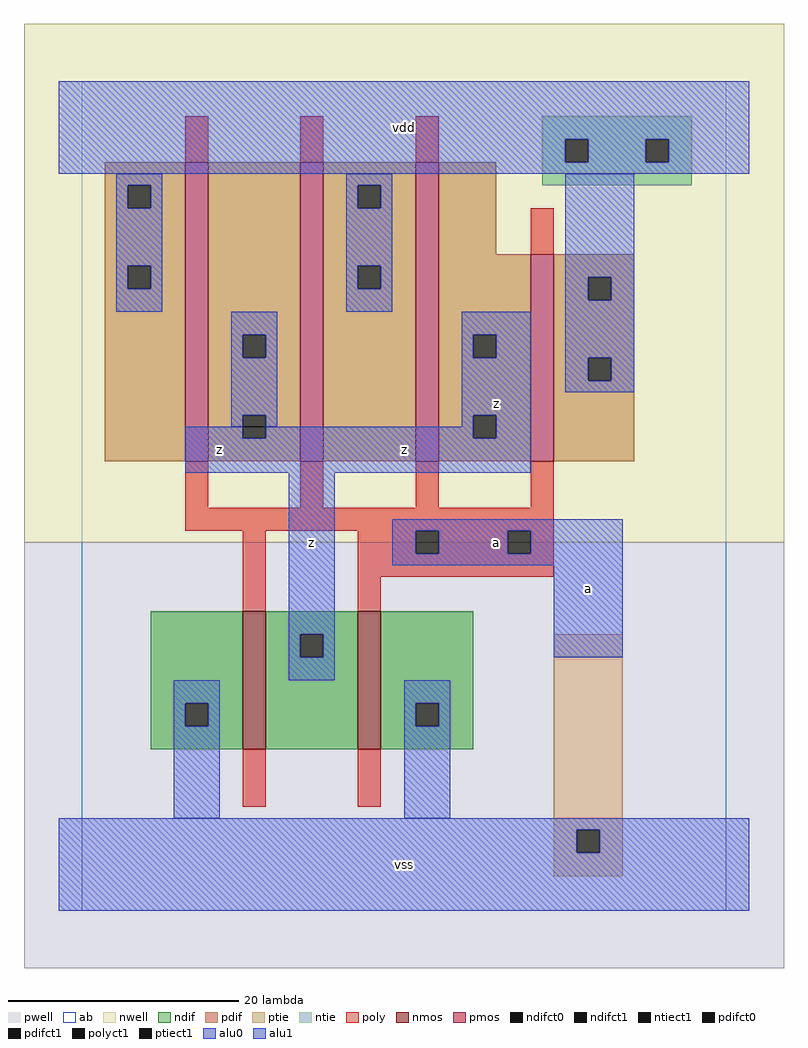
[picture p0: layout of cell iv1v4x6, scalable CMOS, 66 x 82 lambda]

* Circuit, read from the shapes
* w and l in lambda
.subckt iv1v4x6 a vdd vss z
M1 z a vss vss nfet w=12 l=2 m=2
M2 z a vdd vdd pfet w=26 l=2 m=3
M3 vdd a z vdd pfet w=18 l=2
.ends

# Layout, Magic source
magic
tech scmos
<< ab >>
rect 0 0 56 72
<< nwell >>
rect -5 32 61 77
<< pwell >>
rect -5 -5 61 32
<< poly >>
rect 9 65 11 69
rect 19 65 21 69
rect 29 65 31 69
rect 39 57 41 61
rect 9 35 11 39
rect 19 35 21 39
rect 29 35 31 39
rect 39 35 41 39
rect 9 33 41 35
rect 14 26 16 33
rect 24 31 29 33
rect 31 31 37 33
rect 39 31 41 33
rect 24 29 41 31
rect 24 26 26 29
rect 14 9 16 14
rect 24 9 26 14
<< ndif >>
rect 6 18 14 26
rect 6 16 9 18
rect 11 16 14 18
rect 6 14 14 16
rect 16 24 24 26
rect 16 22 19 24
rect 21 22 24 24
rect 16 14 24 22
rect 26 18 34 26
rect 26 16 29 18
rect 31 16 34 18
rect 26 14 34 16
<< pdif >>
rect 2 63 9 65
rect 2 61 4 63
rect 6 61 9 63
rect 2 56 9 61
rect 2 54 4 56
rect 6 54 9 56
rect 2 39 9 54
rect 11 50 19 65
rect 11 48 14 50
rect 16 48 19 50
rect 11 43 19 48
rect 11 41 14 43
rect 16 41 19 43
rect 11 39 19 41
rect 21 63 29 65
rect 21 61 24 63
rect 26 61 29 63
rect 21 56 29 61
rect 21 54 24 56
rect 26 54 29 56
rect 21 39 29 54
rect 31 57 36 65
rect 31 50 39 57
rect 31 48 34 50
rect 36 48 39 50
rect 31 43 39 48
rect 31 41 34 43
rect 36 41 39 43
rect 31 39 39 41
rect 41 55 48 57
rect 41 53 44 55
rect 46 53 48 55
rect 41 48 48 53
rect 41 46 44 48
rect 46 46 48 48
rect 41 39 48 46
<< alu1 >>
rect -2 67 58 72
rect -2 65 42 67
rect 44 65 49 67
rect 51 65 58 67
rect -2 64 58 65
rect 33 50 39 52
rect 33 48 34 50
rect 36 48 39 50
rect 33 43 39 48
rect 33 42 34 43
rect 9 41 14 42
rect 16 41 34 42
rect 36 41 39 43
rect 9 38 39 41
rect 18 24 22 38
rect 27 33 47 34
rect 27 31 29 33
rect 31 31 37 33
rect 39 31 47 33
rect 27 30 47 31
rect 18 22 19 24
rect 21 22 22 24
rect 41 22 47 30
rect 18 20 22 22
rect -2 7 58 8
rect -2 5 43 7
rect 45 5 58 7
rect -2 0 58 5
<< ptie >>
rect 41 7 47 24
rect 41 5 43 7
rect 45 5 47 7
rect 41 3 47 5
<< ntie >>
rect 40 67 53 69
rect 40 65 42 67
rect 44 65 49 67
rect 51 65 53 67
rect 40 63 53 65
<< nmos >>
rect 14 14 16 26
rect 24 14 26 26
<< pmos >>
rect 9 39 11 65
rect 19 39 21 65
rect 29 39 31 65
rect 39 39 41 57
<< polyct1 >>
rect 29 31 31 33
rect 37 31 39 33
<< ndifct0 >>
rect 9 16 11 18
rect 29 16 31 18
<< ndifct1 >>
rect 19 22 21 24
<< ntiect1 >>
rect 42 65 44 67
rect 49 65 51 67
<< ptiect1 >>
rect 43 5 45 7
<< pdifct0 >>
rect 4 61 6 63
rect 4 54 6 56
rect 14 48 16 50
rect 14 42 16 43
rect 24 61 26 63
rect 24 54 26 56
rect 44 53 46 55
rect 44 46 46 48
<< pdifct1 >>
rect 14 41 16 42
rect 34 48 36 50
rect 34 41 36 43
<< alu0 >>
rect 3 63 7 64
rect 3 61 4 63
rect 6 61 7 63
rect 3 56 7 61
rect 3 54 4 56
rect 6 54 7 56
rect 3 52 7 54
rect 23 63 27 64
rect 23 61 24 63
rect 26 61 27 63
rect 23 56 27 61
rect 23 54 24 56
rect 26 54 27 56
rect 23 52 27 54
rect 42 55 48 64
rect 42 53 44 55
rect 46 53 48 55
rect 13 50 17 52
rect 13 48 14 50
rect 16 48 17 50
rect 13 43 17 48
rect 13 42 14 43
rect 16 42 17 43
rect 42 48 48 53
rect 42 46 44 48
rect 46 46 48 48
rect 42 45 48 46
rect 8 18 12 20
rect 8 16 9 18
rect 11 16 12 18
rect 8 8 12 16
rect 28 18 32 20
rect 28 16 29 18
rect 31 16 32 18
rect 28 8 32 16
<< labels >>
rlabel alu1 20 32 20 32 6 z
rlabel alu1 12 40 12 40 6 z
rlabel alu1 28 4 28 4 6 vss
rlabel alu1 36 32 36 32 6 a
rlabel alu1 28 40 28 40 6 z
rlabel alu1 36 44 36 44 6 z
rlabel alu1 28 68 28 68 6 vdd
rlabel alu1 44 28 44 28 6 a
<< end >>
